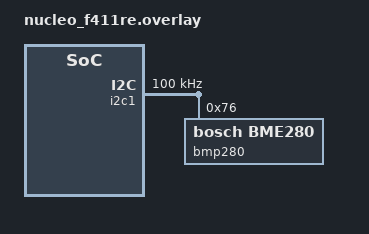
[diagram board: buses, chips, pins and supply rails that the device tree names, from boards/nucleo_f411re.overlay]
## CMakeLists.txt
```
# 29장: Zephyr 애플리케이션
#   west build -b nucleo_f411re code/ch29-zephyr
cmake_minimum_required(VERSION 3.20.0)

find_package(Zephyr REQUIRED HINTS $ENV{ZEPHYR_BASE})
project(ch29_zephyr)

target_sources(app PRIVATE src/main.c)
```

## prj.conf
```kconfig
# 29장: Kconfig 설정 (이 앱에 필요한 기능만 켠다)
# 값 뒤에 주석을 붙이지 않는다. 주석은 항상 줄 맨 앞의 # 로 쓴다.

# LD2
CONFIG_GPIO=y
# B1: gpio-keys 드라이버와 입력 서브시스템 (디바운싱 포함)
CONFIG_INPUT=y
# BMP280: bosch,bme280 드라이버가 BMP280(칩 ID 0x58)도 지원한다
CONFIG_I2C=y
CONFIG_SENSOR=y

CONFIG_PRINTK=y
CONFIG_MAIN_STACK_SIZE=1024
```

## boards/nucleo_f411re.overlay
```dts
/*
 * 29장: NUCLEO-F411RE용 devicetree 오버레이
 * 15장과 같은 연결: BMP280 SDA → D14(PB9), SCL → D15(PB8), SDO → GND (주소 0x76)
 * i2c1과 그 핀(PB8, PB9)은 보드 devicetree에 이미 정의되어 있으므로 센서 노드만 붙인다.
 */
&i2c1 {
	clock-frequency = <I2C_BITRATE_STANDARD>;   /* 100 kHz: 15장과 같게 */

	bmp280: bmp280@76 {
		compatible = "bosch,bme280";
		reg = <0x76>;
	};
};
```

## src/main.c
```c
/*
 * 29장 실습: Zephyr로 같은 일을 다시 하기 (NUCLEO-F411RE)
 *
 *   blink 스레드   LD2를 500 ms마다 토글             (devicetree 별칭 led0)
 *   sensor 스레드  1초마다 BMP280을 읽어 메시지 큐로   (센서 드라이버 API)
 *   main 스레드    큐에서 꺼내 출력                     (k_msgq)
 *   B1 버튼        입력 콜백에서 측정을 멈추고 다시 켬   (gpio-keys + 입력 서브시스템)
 *
 * 핀 번호나 I2C 주소는 코드에 없다. 모두 devicetree(보드 파일 + boards/nucleo_f411re.overlay)에서 온다.
 */
#include <zephyr/kernel.h>
#include <zephyr/device.h>
#include <zephyr/devicetree.h>
#include <zephyr/drivers/gpio.h>
#include <zephyr/drivers/sensor.h>
#include <zephyr/input/input.h>
#include <zephyr/sys/atomic.h>
#include <zephyr/sys/printk.h>
#include <stdlib.h>

/* devicetree에서 장치 가져오기: 빌드할 때 확정되며, 없는 노드면 빌드 오류 */
static const struct gpio_dt_spec led = GPIO_DT_SPEC_GET(DT_ALIAS(led0), gpios);
static const struct device *const bmp = DEVICE_DT_GET(DT_NODELABEL(bmp280));

struct sample {
	uint32_t   seq;
	uint32_t   uptime_ms;
	struct sensor_value temp;     /* val1 = 정수부, val2 = 백만분의 1 */
	struct sensor_value press;    /* kPa */
};

K_MSGQ_DEFINE(sample_q, sizeof(struct sample), 8, 4);

static atomic_t paused;

/* ---- B1: gpio-keys 드라이버가 디바운싱한 뒤 입력 이벤트로 알려 준다 ---- */
static void button_cb(struct input_event *evt, void *user_data)
{
	ARG_UNUSED(user_data);
	if (evt->code == INPUT_KEY_0 && evt->value == 1) {    /* 눌림 */
		bool now = !atomic_get(&paused);
		atomic_set(&paused, now);
		printk("sampling %s\n", now ? "paused" : "resumed");
	}
}
INPUT_CALLBACK_DEFINE(NULL, button_cb, NULL);

/* ---- 스레드 ---- */
static void blink_thread(void *a, void *b, void *c)
{
	ARG_UNUSED(a); ARG_UNUSED(b); ARG_UNUSED(c);
	if (!gpio_is_ready_dt(&led)) {
		return;
	}
	gpio_pin_configure_dt(&led, GPIO_OUTPUT_INACTIVE);
	for (;;) {
		gpio_pin_toggle_dt(&led);
		k_msleep(500);
	}
}

static void sensor_thread(void *a, void *b, void *c)
{
	ARG_UNUSED(a); ARG_UNUSED(b); ARG_UNUSED(c);
	if (!device_is_ready(bmp)) {
		printk("BMP280 not ready (wiring? address?)\n");
		return;
	}
	uint32_t seq = 0;
	int64_t next = k_uptime_get();
	for (;;) {
		next += 1000;
		k_sleep(K_TIMEOUT_ABS_MS(next));            /* 절대 시각까지: vTaskDelayUntil과 같은 역할 */
		if (atomic_get(&paused)) {
			continue;
		}
		struct sample s = { .seq = seq++, .uptime_ms = k_uptime_get_32() };
		if (sensor_sample_fetch(bmp) < 0) {
			printk("fetch failed\n");
			continue;
		}
		sensor_channel_get(bmp, SENSOR_CHAN_AMBIENT_TEMP, &s.temp);
		sensor_channel_get(bmp, SENSOR_CHAN_PRESS, &s.press);
		if (k_msgq_put(&sample_q, &s, K_NO_WAIT) != 0) {
			printk("queue full, sample %u dropped\n", s.seq);
		}
	}
}

/* 스택 크기는 바이트 단위, 우선순위는 숫자가 작을수록 높다 (FreeRTOS와 반대) */
K_THREAD_DEFINE(blink_tid,  512,  blink_thread,  NULL, NULL, NULL, 7, 0, 0);
K_THREAD_DEFINE(sensor_tid, 1024, sensor_thread, NULL, NULL, NULL, 5, 0, 0);

int main(void)
{
	struct sample s;
	printk("ch29 Zephyr on %s: B1 pauses sampling\n", CONFIG_BOARD);
	for (;;) {
		k_msgq_get(&sample_q, &s, K_FOREVER);    /* 값이 올 때까지 기다림 */
		/* 온도: val1 + val2/1e6 °C, 기압: kPa → hPa로 보여 준다 */
		int32_t t_centi = s.temp.val1 * 100 + s.temp.val2 / 10000;
		int32_t p_deci_hpa = s.press.val1 * 100 + s.press.val2 / 10000;   /* kPa×100 = hPa×10 */
		printk("#%u %u ms  T = %s%d.%02d C  P = %d.%d hPa\n", s.seq, s.uptime_ms,
		       t_centi < 0 ? "-" : "", abs(t_centi) / 100, abs(t_centi) % 100,
		       p_deci_hpa / 10, p_deci_hpa % 10);
	}
	return 0;
}
```
